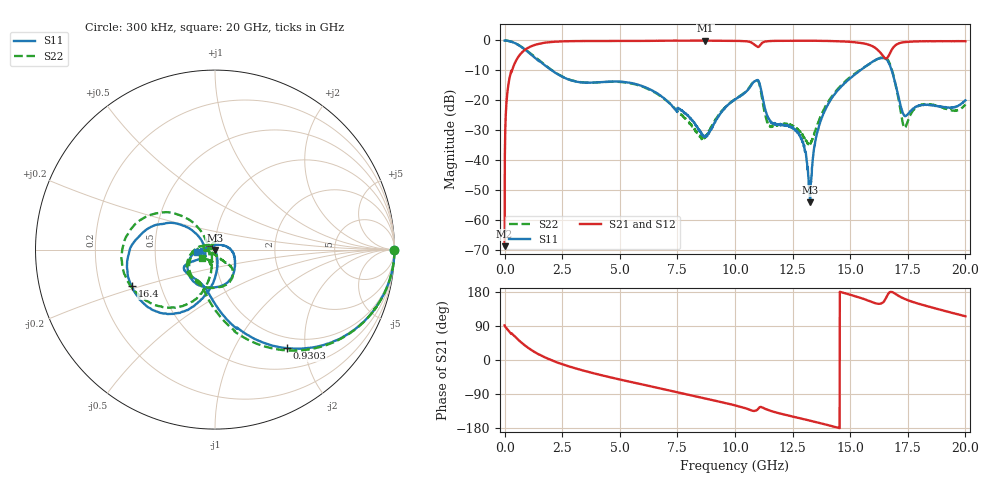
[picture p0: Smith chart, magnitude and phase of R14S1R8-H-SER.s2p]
!{R14S1R8}
!Johanson Technology Inc.
!www.johansontechnology.com
!Test Board Conditions:
!Substrate Type  RO4350B
!Substrate Thickness  20 mil
!Substrate Dk  3.66
!TL Type: GCPW
!TL Trace Width  36 mil
!TL Gap  12 mil
!Electrode orientation  Horizontal
!DUT TOPOLOGY	SERIES
!Mounting Pad LxW  26x36 mil
! Created Wed Nov 25 17:33:21 2020
! 2 Port Network Data from SP1.SP block
! freq  magS11  angS11  magS21  angS21  magS12  angS12  magS22  angS22
# khz S ma R 50
! decimated to every 10th point (10 MHz spacing) of the original 1 MHz Johanson file; values unchanged
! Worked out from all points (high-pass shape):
!   2001 points, 300 kHz to 20 GHz, reference 50 ohm
!   highest |S21| = -0.04 dB at 8.71 GHz (marker M1); lowest = -68.8 dB at 300 kHz (marker M2)
!   |S21| within 3 dB of the highest: 897.1 MHz to 16.18 GHz (15.28 GHz wide, 179 % of centre); 16.81 GHz to end of sweep
!   lowest |S11| = -54.1 dB at 13.26 GHz (marker M3), VSWR 1.00, Z = 49.9 - j0.154 ohm
!   |S11| at or under -10 dB: 2.045 GHz to 15.44 GHz (13.4 GHz wide, 153 % of centre); 16.8 GHz to end of sweep
!   |S22| runs from -34.7 to 0.0 dB; largest |S21 - S12| = 0.012
!   S11 on the Smith chart (normalised r, x): 300 kHz: open; 930.3 MHz: 0.81, -1.67; 16.4 GHz: 0.34, -0.19; 20 GHz: 0.82, -0.03
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300  0.9955 -0.0  0.0003636 91.5  0.0002412 84.3  0.9966 -0.1
110300  0.9918 -8.1  0.1237 81.7  0.1243 81.6  0.9915 -8.1
190300  0.9758 -13.9  0.2103 75.7  0.2113 75.7  0.9764 -13.9
930300  0.6811 -53.8  0.719 36.2  0.7181 36.2  0.6926 -54.2
1860300  0.3565 -84.1  0.9278 3.9  0.9298 3.9  0.3614 -87.0
3340300  0.1988 -116.8  0.9779 -26.6  0.977 -26.6  0.2001 -115.1
6670300  0.1271 -151.2  0.9883 -73.8  0.9881 -73.8  0.1245 -174.9
8710300  0.025 99.5  0.9948 -101.6  0.994 -101.5  0.02448 -106.2
1.00003e7  0.103 -10.8  0.9856 -119.6  0.9849 -119.6  0.104 -49.0
1.10003e7  0.2156 -121.0  0.7772 -129.1  0.7778 -129.0  0.2102 -117.4
1.14903e7  0.04758 -176.9  0.9763 -133.1  0.9735 -133.2  0.03793 118.8
1.27503e7  0.02762 142.7  0.9867 -152.8  0.9875 -152.9  0.03168 121.1
1.32603e7  0.001971 -128.3  0.9874 -160.2  0.9882 -160.2  0.01895 -167.9
1.33403e7  0.007479 -80.2  0.9881 -161.4  0.9876 -161.4  0.02149 -149.4
1.36103e7  0.03289 -72.9  0.9857 -165.3  0.9872 -165.4  0.04263 -114.9
1.41503e7  0.1002 -82.8  0.9767 -173.7  0.9792 -173.6  0.1083 -100.6
1.58403e7  0.4086 -120.1  0.8403 155.4  0.8425 155.5  0.4045 -127.2
1.64003e7  0.5063 -156.3  0.5665 151.0  0.5588 151.4  0.5237 -166.1
1.66703e7  0.4238 169.0  0.5547 176.2  0.5484 176.9  0.449 158.6
1.73703e7  0.05462 -177.1  0.9373 161.1  0.9393 161.1  0.03482 -168.7
1.80603e7  0.08253 -147.1  0.9664 146.7  0.9672 146.6  0.08284 -109.0
2e7  0.09964 -171.2  0.9724 115.4  0.9702 115.6  0.08512 -148.5
